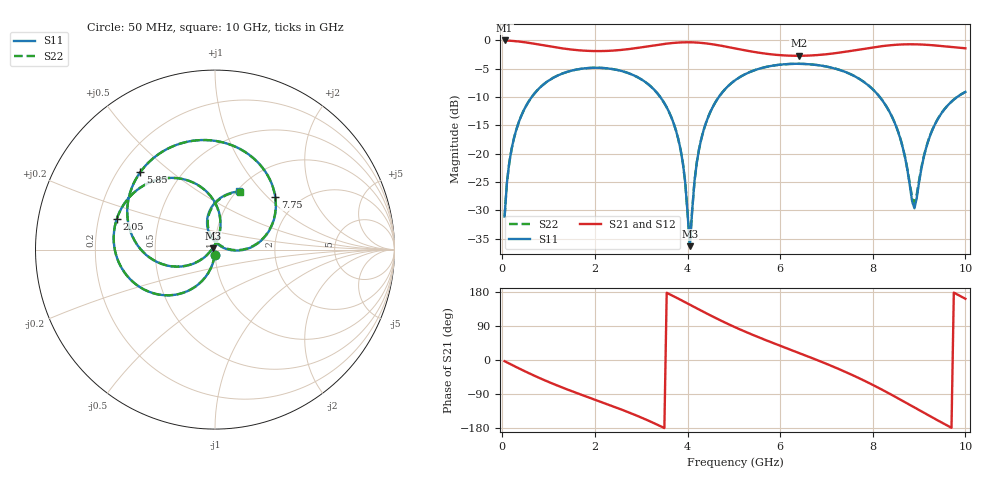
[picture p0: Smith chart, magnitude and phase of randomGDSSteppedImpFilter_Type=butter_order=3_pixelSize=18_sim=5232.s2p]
! freq	dB(S11)	phase(S11)	dB(S12)	phase(S12)
!  dB(S21)	phase(S21)	dB(S22)	phase(S22)
!S-par simulation data
#  GHz  S  DB  R 50
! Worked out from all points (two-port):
!   200 points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, 50 MHz to 10 GHz, reference 50 ohm
!   highest |S21| = -0.01 dB at 50 MHz (marker M1); lowest = -2.7 dB at 6.4 GHz (marker M2)
!   |S21| within 3 dB of the highest: start of sweep to end of sweep
!   lowest |S11| = -36.3 dB at 4.05 GHz (marker M3), VSWR 1.03, Z = 48.7 + j0.804 ohm
!   |S11| at or under -10 dB: start of sweep to 635.6 MHz; 3.411 GHz to 4.675 GHz (1.264 GHz wide, 31.3 % of centre); 8.151 GHz to 9.822 GHz (1.671 GHz wide, 18.6 % of centre)
!   |S22| runs from -35.9 to -4.1 dB; largest |S21 - S12| = 0
!   S11 on the Smith chart (normalised r, x): 50 MHz: 1.00, -0.06; 2.05 GHz: 0.28, +0.14; 5.85 GHz: 0.29, +0.39; 7.75 GHz: 1.52, +1.12; 10 GHz: 1.03, +0.76
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0.05  -31.12 -93.2  -0.01 -3.2  -0.01 -3.2  -31.12 -93.2
0.2  -19.21 -103.0  -0.08 -12.5  -0.08 -12.5  -19.21 -103.0
0.5  -11.77 -121.0  -0.34 -30.5  -0.34 -30.5  -11.77 -121.0
1.05  -6.84 -150.9  -1.09 -60.5  -1.09 -60.5  -6.84 -150.9
1.75  -4.96 176.0  -1.80 -93.6  -1.80 -93.6  -4.96 176.0
2.05  -4.83 162.7  -1.89 -106.9  -1.89 -106.9  -4.83 162.7
2.8  -6.03 128.4  -1.46 -141.7  -1.46 -141.7  -6.03 128.4
3.4  -9.87 97.5  -0.73 -173.8  -0.73 -173.8  -9.87 97.6
3.85  -19.29 75.0  -0.36 158.8  -0.36 158.8  -19.28 75.5
4.05  -36.34 147.2  -0.33 146.0  -0.33 146.0  -35.94 147.1
4.15  -24.90 -145.0  -0.35 139.6  -0.35 139.6  -24.87 -145.8
4.35  -15.78 -148.5  -0.48 126.8  -0.48 126.8  -15.78 -148.8
5.05  -6.90 173.5  -1.45 85.2  -1.45 85.2  -6.90 173.4
5.85  -4.45 134.1  -2.50 44.7  -2.50 44.7  -4.45 134.0
6.4  -4.13 108.7  -2.72 18.8  -2.72 18.8  -4.13 108.6
6.7  -4.26 94.7  -2.64 4.6  -2.64 4.6  -4.26 94.7
7.75  -7.00 41.2  -1.56 -50.6  -1.56 -50.6  -7.00 41.4
8.35  -12.45 8.0  -0.87 -88.1  -0.87 -88.1  -12.43 8.5
8.65  -19.01 -2.9  -0.71 -108.2  -0.71 -108.2  -18.93 -1.4
8.9  -29.65 58.2  -0.69 -125.2  -0.69 -125.2  -28.76 57.6
9.3  -15.57 105.3  -0.86 -152.4  -0.86 -152.4  -15.53 103.8
10  -9.09 67.4  -1.39 161.6  -1.39 161.6  -9.09 66.5
